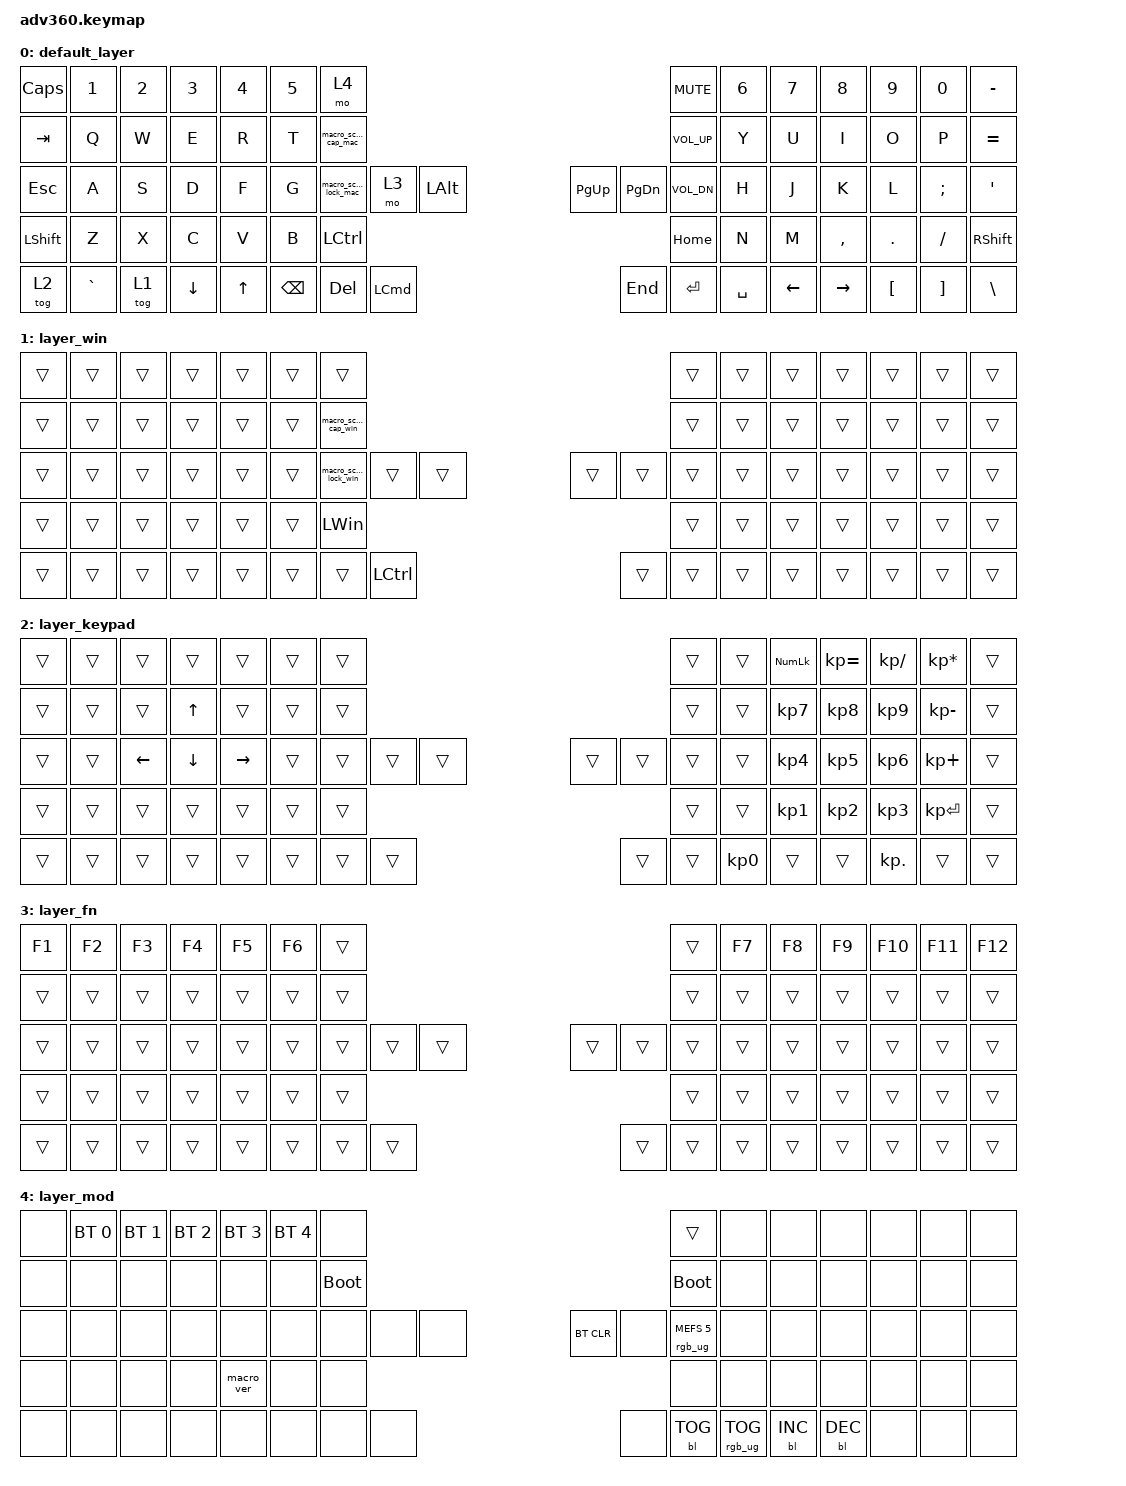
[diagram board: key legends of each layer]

/*
 * Copyright (c) 2020 The ZMK Contributors
 *
 * SPDX-License-Identifier: MIT
 */


/* THIS FILE WAS GENERATED!
 *
 * This file was generated automatically. You may or may not want to
 * edit it directly.
 */

#include <behaviors.dtsi>
#include <dt-bindings/zmk/keys.h>
#include <dt-bindings/zmk/bt.h>
#include <dt-bindings/zmk/rgb.h>
#include <dt-bindings/zmk/backlight.h>

/ {
  behaviors {
    #include "macros.dtsi"
    #include "version.dtsi"

    hm: homerow_mods {
        compatible = "zmk,behavior-hold-tap";
        label = "HOMEROW_MODS";
        #binding-cells = <2>;
        tapping-term-ms = <200>;
        quick_tap_ms = <175>;
        flavor = "tap-preferred";
        bindings = <&kp>, <&kp>;
    };
  };

    keymap {
        compatible = "zmk,keymap";


        default_layer {
            bindings = <
  &kp CAPS     &kp N1  &kp N2    &kp N3  &kp N4  &kp N5                             &mo 4                                                                 &kp C_MUTE  &kp N6    &kp N7     &kp N8    &kp N9    &kp N0  &kp MINUS
   &kp TAB      &kp Q   &kp W     &kp E   &kp R   &kp T             &macro_screen_cap_mac                                                               &kp C_VOL_UP   &kp Y     &kp U      &kp I     &kp O     &kp P  &kp EQUAL
   &kp ESC      &kp A   &kp S     &kp D   &kp F   &kp G            &macro_screen_lock_mac       &mo 3   &kp LALT                  &kp PG_UP  &kp PG_DN  &kp C_VOL_DN   &kp H     &kp J      &kp K     &kp L  &kp SEMI    &kp SQT
 &kp LSHFT      &kp Z   &kp X     &kp C   &kp V   &kp B                                                &kp LCTRL                   &kp HOME                            &kp N     &kp M  &kp COMMA   &kp DOT  &kp FSLH  &kp RSHFT
    &tog 2  &kp GRAVE  &tog 1  &kp DOWN  &kp UP                                  &kp BSPC  &kp DELETE   &kp LCMD                    &kp END  &kp ENTER     &kp SPACE          &kp LEFT  &kp RIGHT  &kp LBKT  &kp RBKT   &kp BSLH
            >;
        };

        layer_win {
            bindings = <
 &trans  &trans  &trans  &trans  &trans  &trans                            &trans                                                     &trans  &trans  &trans  &trans  &trans  &trans  &trans
 &trans  &trans  &trans  &trans  &trans  &trans             &macro_screen_cap_win                                                     &trans  &trans  &trans  &trans  &trans  &trans  &trans
 &trans  &trans  &trans  &trans  &trans  &trans            &macro_screen_lock_win  &trans     &trans                  &trans  &trans  &trans  &trans  &trans  &trans  &trans  &trans  &trans
 &trans  &trans  &trans  &trans  &trans  &trans                                             &kp LWIN                  &trans                  &trans  &trans  &trans  &trans  &trans  &trans
 &trans  &trans  &trans  &trans  &trans                                    &trans  &trans  &kp LCTRL                  &trans  &trans  &trans          &trans  &trans  &trans  &trans  &trans
            >;
        };

        layer_keypad {
            bindings = <
 &trans  &trans          &trans          &trans           &trans  &trans            &trans                                                     &trans  &trans  &kp KP_NUM  &kp KP_EQUAL  &kp KP_DIVIDE  &kp KP_MULTIPLY  &trans
 &trans  &trans          &trans    &kp UP_ARROW           &trans  &trans            &trans                                                     &trans  &trans   &kp KP_N7     &kp KP_N8      &kp KP_N9     &kp KP_MINUS  &trans
 &trans  &trans  &kp LEFT_ARROW  &kp DOWN_ARROW  &kp RIGHT_ARROW  &trans            &trans  &trans  &trans                  &trans  &trans     &trans  &trans   &kp KP_N4     &kp KP_N5      &kp KP_N6      &kp KP_PLUS  &trans
 &trans  &trans          &trans          &trans           &trans  &trans                            &trans                  &trans                     &trans   &kp KP_N1     &kp KP_N2      &kp KP_N3     &kp KP_ENTER  &trans
 &trans  &trans          &trans          &trans           &trans                    &trans  &trans  &trans                  &trans  &trans  &kp KP_N0              &trans        &trans     &kp KP_DOT           &trans  &trans
            >;
        };

        layer_fn {
            bindings = <
 &kp F1  &kp F2  &kp F3  &kp F4  &kp F5  &kp F6            &trans                                                  &trans  &kp F7  &kp F8  &kp F9  &kp F10  &kp F11  &kp F12
 &trans  &trans  &trans  &trans  &trans  &trans            &trans                                                  &trans  &trans  &trans  &trans   &trans   &trans   &trans
 &trans  &trans  &trans  &trans  &trans  &trans            &trans  &trans  &trans                  &trans  &trans  &trans  &trans  &trans  &trans   &trans   &trans   &trans
 &trans  &trans  &trans  &trans  &trans  &trans                            &trans                  &trans                  &trans  &trans  &trans   &trans   &trans   &trans
 &trans  &trans  &trans  &trans  &trans                    &trans  &trans  &trans                  &trans  &trans  &trans          &trans  &trans   &trans   &trans   &trans
            >;
        };

        layer_mod {
            bindings = <
  &none  &bt BT_SEL 0  &bt BT_SEL 1  &bt BT_SEL 2  &bt BT_SEL 3  &bt BT_SEL 4                  &none                                                                          &trans   &none       &none       &none   &none   &none   &none
  &none         &none         &none         &none         &none         &none            &bootloader                                                                     &bootloader   &none       &none       &none   &none   &none   &none
  &none         &none         &none         &none         &none         &none                  &none   &none   &none                  &bt BT_CLR       &none  &rgb_ug RGB_MEFS_CMD 5   &none       &none       &none   &none   &none   &none
  &none         &none         &none         &none    &macro_ver         &none                                  &none                       &none                                       &none       &none       &none   &none   &none   &none
  &none         &none         &none         &none         &none                                &none   &none   &none                       &none  &bl BL_TOG         &rgb_ug RGB_TOG          &bl BL_INC  &bl BL_DEC   &none   &none   &none
            >;
        };

    };
};
